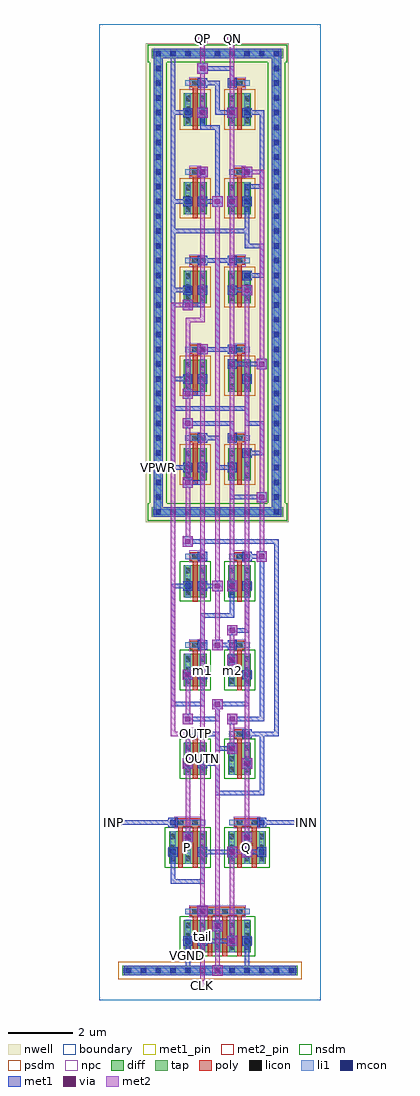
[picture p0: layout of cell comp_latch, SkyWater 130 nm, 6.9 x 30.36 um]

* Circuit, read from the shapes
.subckt comp_latch CLK INN INP OUTN OUTP P Q QN QP VGND VPWR m1 m2 tail
XM1 P INP tail VGND sky130_fd_pr__nfet_01v8 w=1 l=0.15 m=2
XM2 tail CLK VGND VGND sky130_fd_pr__nfet_01v8 w=1 l=0.15 m=4
XM3 OUTN OUTP P VGND sky130_fd_pr__nfet_01v8 w=1 l=0.15
XM4 m1 QN VGND VGND sky130_fd_pr__nfet_01v8 w=1 l=0.15
XM5 QP OUTN m1 VGND sky130_fd_pr__nfet_01v8 w=1 l=0.15
XM6 Q INN tail VGND sky130_fd_pr__nfet_01v8 w=1 l=0.15 m=2
XM7 Q OUTN OUTP VGND sky130_fd_pr__nfet_01v8 w=1 l=0.15
XM8 VGND QP m2 VGND sky130_fd_pr__nfet_01v8 w=1 l=0.15
XM9 m2 OUTP QN VGND sky130_fd_pr__nfet_01v8 w=1 l=0.15
XM10 OUTN OUTP VPWR VPWR sky130_fd_pr__pfet_01v8 w=1 l=0.15
XM11 OUTN CLK VPWR VPWR sky130_fd_pr__pfet_01v8 w=1 l=0.15
XM12 P CLK VPWR VPWR sky130_fd_pr__pfet_01v8 w=1 l=0.15
XM13 QP OUTN VPWR VPWR sky130_fd_pr__pfet_01v8 w=1 l=0.15
XM14 QP QN VPWR VPWR sky130_fd_pr__pfet_01v8 w=1 l=0.15
XM15 VPWR OUTN OUTP VPWR sky130_fd_pr__pfet_01v8 w=1 l=0.15
XM16 VPWR CLK OUTP VPWR sky130_fd_pr__pfet_01v8 w=1 l=0.15
XM17 VPWR CLK Q VPWR sky130_fd_pr__pfet_01v8 w=1 l=0.15
XM18 VPWR OUTP QN VPWR sky130_fd_pr__pfet_01v8 w=1 l=0.15
XM19 VPWR QP QN VPWR sky130_fd_pr__pfet_01v8 w=1 l=0.15
.ends

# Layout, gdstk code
import gdstk
lib = gdstk.Library(unit=1e-6, precision=1e-09)
def R(c, l, rs):  # rectangles x0, y0, x1, y1
    for r in rs: c.add(gdstk.rectangle(r[:2], r[2:], *l))
def A(c, l, x, y, w, h, nx, ny, dx, dy):  # array of equal rectangles
    R(c, l, [(x+i*dx, y+j*dy, x+i*dx+w, y+j*dy+h) for i in range(nx) for j in range(ny)])
nwell = (64, 20)
diff = (65, 20)
tap = (65, 44)
poly = (66, 20)
licon = (66, 44)
li1 = (67, 20)
mcon = (67, 44)
met1_pin = (68, 16)
met1 = (68, 20)
via = (68, 44)
met2_pin = (69, 16)
met2 = (69, 20)
nsdm = (93, 44)
psdm = (94, 20)
npc = (95, 20)
boundary = (235, 4)

comp_latch = lib.new_cell('comp_latch')
R(comp_latch, nwell, [(1.455,14.855,5.905,29.765)])
A(comp_latch, diff, 2.635, 7.005, 0.71, 1, 1, 3, 0, 2.76)
A(comp_latch, diff, 4.015, 7.005, 0.71, 1, 1, 3, 0, 2.76)
A(comp_latch, diff, 2.635, 16.16, 0.71, 1, 1, 5, 0, 2.76)
A(comp_latch, diff, 4.015, 16.16, 0.71, 1, 1, 5, 0, 2.76)
R(comp_latch, diff, [(2.635,1.485,4.725,2.485), (2.175,4.245,3.345,5.245), (4.015,4.245,5.185,5.245)])
R(comp_latch, tap, [(0.715,0.775,6.185,1.065), (1.635,15.035,5.725,15.325), (1.695,15.035,1.985,29.585), (5.375,15.035,5.665,29.585), (1.635,29.295,5.725,29.585)])
A(comp_latch, poly, 2.915, 1.355, 0.15, 1.405, 4, 1, 0.46, 0)
A(comp_latch, poly, 2.915, 4.115, 0.15, 1.405, 1, 4, 0, 2.76)
A(comp_latch, poly, 4.295, 4.115, 0.15, 1.405, 1, 4, 0, 2.76)
A(comp_latch, poly, 2.825, 8.145, 0.33, 0.27, 1, 3, 0, 2.76)
A(comp_latch, poly, 4.205, 8.145, 0.33, 0.27, 1, 3, 0, 2.76)
A(comp_latch, poly, 2.915, 16.03, 0.15, 1.45, 1, 5, 0, 2.76)
A(comp_latch, poly, 4.295, 16.03, 0.15, 1.45, 1, 5, 0, 2.76)
A(comp_latch, poly, 2.825, 17.345, 0.33, 0.27, 1, 5, 0, 2.76)
A(comp_latch, poly, 4.205, 17.345, 0.33, 0.27, 1, 5, 0, 2.76)
R(comp_latch, poly, [(2.825,2.625,4.535,2.895), (2.455,4.115,2.605,5.52), (4.755,4.115,4.905,5.52), (2.365,5.385,3.155,5.655), (4.205,5.385,4.995,5.655)])
A(comp_latch, licon, 0.835, 0.835, 0.17, 0.17, 12, 1, 0.46, 0)
A(comp_latch, licon, 2.675, 1.56, 0.17, 0.17, 5, 3, 0.46, 0.34)
A(comp_latch, licon, 2.905, 2.675, 0.17, 0.17, 4, 1, 0.46, 0)
A(comp_latch, licon, 2.215, 4.32, 0.17, 0.17, 3, 3, 0.46, 0.34)
A(comp_latch, licon, 4.055, 4.32, 0.17, 0.17, 3, 3, 0.46, 0.34)
A(comp_latch, licon, 2.905, 5.435, 0.17, 0.17, 1, 4, 0, 2.76)
A(comp_latch, licon, 4.285, 5.435, 0.17, 0.17, 1, 4, 0, 2.76)
A(comp_latch, licon, 2.675, 7.08, 0.17, 0.17, 1, 3, 0, 0.34)
A(comp_latch, licon, 3.135, 7.08, 0.17, 0.17, 1, 3, 0, 0.34)
A(comp_latch, licon, 4.055, 7.08, 0.17, 0.17, 1, 3, 0, 0.34)
A(comp_latch, licon, 4.515, 7.08, 0.17, 0.17, 1, 3, 0, 0.34)
A(comp_latch, licon, 2.675, 9.84, 0.17, 0.17, 1, 3, 0, 0.34)
A(comp_latch, licon, 3.135, 9.84, 0.17, 0.17, 1, 3, 0, 0.34)
A(comp_latch, licon, 4.055, 9.84, 0.17, 0.17, 1, 3, 0, 0.34)
A(comp_latch, licon, 4.515, 9.84, 0.17, 0.17, 1, 3, 0, 0.34)
A(comp_latch, licon, 2.675, 12.6, 0.17, 0.17, 1, 3, 0, 0.34)
A(comp_latch, licon, 3.135, 12.6, 0.17, 0.17, 1, 3, 0, 0.34)
A(comp_latch, licon, 4.055, 12.6, 0.17, 0.17, 1, 3, 0, 0.34)
A(comp_latch, licon, 4.515, 12.6, 0.17, 0.17, 1, 3, 0, 0.34)
A(comp_latch, licon, 1.755, 15.095, 0.17, 0.17, 9, 2, 0.46, 14.26)
A(comp_latch, licon, 1.755, 15.555, 0.17, 0.17, 1, 30, 0, 0.46)
A(comp_latch, licon, 5.435, 15.555, 0.17, 0.17, 1, 30, 0, 0.46)
A(comp_latch, licon, 2.675, 16.235, 0.17, 0.17, 1, 3, 0, 0.34)
A(comp_latch, licon, 3.135, 16.235, 0.17, 0.17, 1, 3, 0, 0.34)
A(comp_latch, licon, 4.055, 16.235, 0.17, 0.17, 1, 3, 0, 0.34)
A(comp_latch, licon, 4.515, 16.235, 0.17, 0.17, 1, 3, 0, 0.34)
A(comp_latch, licon, 2.905, 17.395, 0.17, 0.17, 1, 5, 0, 2.76)
A(comp_latch, licon, 4.285, 17.395, 0.17, 0.17, 1, 5, 0, 2.76)
A(comp_latch, licon, 2.675, 18.995, 0.17, 0.17, 1, 3, 0, 0.34)
A(comp_latch, licon, 3.135, 18.995, 0.17, 0.17, 1, 3, 0, 0.34)
A(comp_latch, licon, 4.055, 18.995, 0.17, 0.17, 1, 3, 0, 0.34)
A(comp_latch, licon, 4.515, 18.995, 0.17, 0.17, 1, 3, 0, 0.34)
A(comp_latch, licon, 2.675, 21.755, 0.17, 0.17, 1, 3, 0, 0.34)
A(comp_latch, licon, 3.135, 21.755, 0.17, 0.17, 1, 3, 0, 0.34)
A(comp_latch, licon, 4.055, 21.755, 0.17, 0.17, 1, 3, 0, 0.34)
A(comp_latch, licon, 4.515, 21.755, 0.17, 0.17, 1, 3, 0, 0.34)
A(comp_latch, licon, 2.675, 24.515, 0.17, 0.17, 1, 3, 0, 0.34)
A(comp_latch, licon, 3.135, 24.515, 0.17, 0.17, 1, 3, 0, 0.34)
A(comp_latch, licon, 4.055, 24.515, 0.17, 0.17, 1, 3, 0, 0.34)
A(comp_latch, licon, 4.515, 24.515, 0.17, 0.17, 1, 3, 0, 0.34)
A(comp_latch, licon, 2.675, 27.275, 0.17, 0.17, 1, 3, 0, 0.34)
A(comp_latch, licon, 3.135, 27.275, 0.17, 0.17, 1, 3, 0, 0.34)
A(comp_latch, licon, 4.055, 27.275, 0.17, 0.17, 1, 3, 0, 0.34)
A(comp_latch, licon, 4.515, 27.275, 0.17, 0.17, 1, 3, 0, 0.34)
R(comp_latch, licon, [(2.445,5.435,2.615,5.605), (4.745,5.435,4.915,5.605)])
A(comp_latch, li1, 2.675, 1.48, 0.17, 1.01, 5, 1, 0.46, 0)
A(comp_latch, li1, 2.215, 4.24, 0.17, 1.01, 3, 1, 0.46, 0)
A(comp_latch, li1, 4.055, 4.24, 0.17, 1.01, 3, 1, 0.46, 0)
A(comp_latch, li1, 2.675, 7, 0.17, 1.01, 1, 3, 0, 2.76)
A(comp_latch, li1, 3.135, 7, 0.17, 1.01, 1, 3, 0, 2.76)
A(comp_latch, li1, 4.055, 7, 0.17, 1.01, 1, 3, 0, 2.76)
A(comp_latch, li1, 4.515, 7, 0.17, 1.01, 1, 3, 0, 2.76)
A(comp_latch, li1, 2.675, 8.195, 0.63, 0.17, 1, 3, 0, 2.76)
A(comp_latch, li1, 4.055, 8.195, 0.63, 0.17, 1, 3, 0, 2.76)
A(comp_latch, li1, 2.675, 16.155, 0.17, 1.01, 1, 5, 0, 2.76)
A(comp_latch, li1, 3.135, 16.155, 0.17, 1.01, 1, 5, 0, 2.76)
A(comp_latch, li1, 4.055, 16.155, 0.17, 1.01, 1, 5, 0, 2.76)
A(comp_latch, li1, 4.515, 16.155, 0.17, 1.01, 1, 5, 0, 2.76)
A(comp_latch, li1, 2.675, 17.395, 0.63, 0.17, 1, 5, 0, 2.76)
A(comp_latch, li1, 4.055, 17.395, 0.63, 0.17, 1, 5, 0, 2.76)
R(comp_latch, li1, [(0.755,0.835,6.145,1.005), (2.675,2.675,4.685,2.845), (2.215,5.435,3.305,5.605), (4.055,5.435,5.145,5.605), (1.675,15.095,5.685,15.265), (1.755,15.095,1.925,29.525), (5.435,15.095,5.605,29.525), (1.675,29.355,5.685,29.525)])
A(comp_latch, mcon, 0.835, 0.835, 0.17, 0.17, 12, 1, 0.46, 0)
A(comp_latch, mcon, 2.215, 4.515, 0.17, 0.17, 4, 1, 0.92, 0)
A(comp_latch, mcon, 2.675, 7.275, 0.17, 0.17, 1, 3, 0, 2.76)
A(comp_latch, mcon, 1.755, 15.095, 0.17, 0.17, 9, 2, 0.46, 14.26)
A(comp_latch, mcon, 1.755, 15.555, 0.17, 0.17, 1, 22, 0, 0.46)
A(comp_latch, mcon, 5.435, 15.555, 0.17, 0.17, 1, 30, 0, 0.46)
A(comp_latch, mcon, 2.675, 16.475, 0.17, 0.17, 1, 5, 0, 2.76)
A(comp_latch, mcon, 1.755, 25.675, 0.17, 0.17, 3, 1, 1.38, 0)
A(comp_latch, mcon, 1.755, 26.135, 0.17, 0.17, 1, 7, 0, 0.46)
R(comp_latch, mcon, [(2.675,1.755,2.845,1.925), (3.135,1.755,3.305,1.925), (4.055,1.755,4.225,1.925), (4.515,1.755,4.685,1.925), (3.595,2.215,3.765,2.385), (3.135,2.675,3.305,2.845), (2.675,4.975,2.845,5.145), (4.515,4.975,4.685,5.145), (2.215,5.435,2.385,5.605), (4.975,5.435,5.145,5.605), (3.135,7.275,3.305,7.445), (4.515,7.275,4.685,7.445), (4.055,7.735,4.225,7.905), (3.135,8.195,3.305,8.365), (4.515,8.195,4.685,8.365), (3.135,10.035,3.305,10.205), (4.515,10.035,4.685,10.205), (4.055,10.495,4.225,10.665), (3.135,10.955,3.305,11.125), (4.055,10.955,4.225,11.125), (3.135,12.795,3.305,12.965), (4.055,12.795,4.225,12.965), (4.515,12.795,4.685,12.965), (3.135,13.715,3.305,13.885), (4.515,13.715,4.685,13.885), (3.135,16.475,3.305,16.645), (4.055,16.475,4.225,16.645), (4.515,16.935,4.685,17.105), (3.135,17.395,3.305,17.565), (4.055,17.395,4.225,17.565), (3.135,19.235,3.305,19.405), (4.515,19.235,4.685,19.405), (4.055,19.695,4.225,19.865), (3.135,20.155,3.305,20.325), (4.055,20.155,4.225,20.325), (3.135,21.995,3.305,22.165), (4.055,21.995,4.225,22.165), (4.515,22.455,4.685,22.625), (3.135,22.915,3.305,23.085), (4.055,22.915,4.225,23.085), (3.135,24.755,3.305,24.925), (4.055,24.755,4.225,24.925), (4.515,24.755,4.685,24.925), (3.135,27.515,3.305,27.685), (4.055,27.515,4.225,27.685), (4.515,27.515,4.685,27.685), (3.135,28.435,3.305,28.605), (4.055,28.435,4.225,28.605)])
R(comp_latch, met1_pin, [(2.69,0.85,2.83,1.91), (1.77,16.49,1.91,16.63)])
A(comp_latch, met1, 2.155, 4.455, 0.29, 0.29, 4, 1, 0.92, 0)
A(comp_latch, met1, 2.6, 7.2, 0.32, 0.32, 1, 3, 0, 1.38)
A(comp_latch, met1, 2.615, 7.215, 0.29, 0.29, 1, 3, 0, 2.76)
A(comp_latch, met1, 3.15, 8.21, 0.6, 0.14, 1, 3, 0, 4.6)
A(comp_latch, met1, 3.52, 9.04, 0.32, 0.32, 1, 3, 0, 1.84)
A(comp_latch, met1, 2.6, 14.1, 0.32, 0.32, 1, 3, 0, 1.84)
A(comp_latch, met1, 2.69, 16.03, 0.6, 0.14, 1, 3, 0, 2.76)
A(comp_latch, met1, 3.15, 16.03, 0.14, 0.6, 1, 3, 0, 2.76)
A(comp_latch, met1, 2.615, 16.415, 0.29, 0.29, 1, 5, 0, 2.76)
A(comp_latch, met1, 2.23, 16.49, 0.14, 2.9, 1, 4, 0, 2.76)
A(comp_latch, met1, 2.23, 19.25, 0.6, 0.14, 1, 4, 0, 2.76)
R(comp_latch, met1, [(3.52,0.76,3.84,1.08), (0.775,0.775,6.125,1.065), (2.69,0.85,3.75,0.99), (2.69,0.85,2.83,1.91), (3.61,0.85,4.67,0.99), (3.61,0.85,3.75,0.99), (4.53,0.85,4.67,1.91), (3.98,1.68,4.3,2), (2.615,1.695,2.905,1.985), (3.075,1.695,3.365,1.985), (3.995,1.695,4.285,1.985), (4.455,1.695,4.745,1.985), (3.15,1.77,4.21,1.91), (3.52,2.14,3.84,2.46), (3.535,2.155,3.825,2.445), (3.06,2.6,3.38,2.92), (3.075,2.615,3.365,2.905), (2.23,3.61,3.29,3.75), (2.23,3.61,2.37,4.67), (3.15,3.61,3.29,4.67), (3.98,4.44,4.3,4.76), (4.44,4.44,4.76,4.76), (3.15,4.53,4.21,4.67), (4.53,4.53,5.13,4.67), (2.6,4.9,2.92,5.22), (4.44,4.9,4.76,5.22), (2.615,4.915,2.905,5.205), (4.455,4.915,4.745,5.205), (0.3,5.36,0.62,5.68), (6.28,5.36,6.6,5.68), (2.155,5.375,2.445,5.665), (4.915,5.375,5.205,5.665), (0.39,5.45,2.37,5.59), (4.99,5.45,6.51,5.59), (3.61,6.37,5.13,6.51), (3.61,6.37,3.75,7.43), (4.99,6.37,5.13,8.35), (4.44,7.2,4.76,7.52), (3.075,7.215,3.365,7.505), (4.455,7.215,4.745,7.505), (3.15,7.29,3.75,7.43), (3.98,7.66,4.3,7.98), (3.995,7.675,4.285,7.965), (3.61,7.75,4.21,7.89), (3.61,7.75,3.75,8.35), (3.075,8.135,3.365,8.425), (4.455,8.135,4.745,8.425), (4.53,8.21,5.13,8.35), (4.99,8.21,5.59,8.35), (5.45,8.21,5.59,14.33), (3.98,8.58,4.3,8.9), (2.69,8.67,3.75,8.81), (3.61,8.67,3.75,9.27), (4.07,8.67,5.13,8.81), (4.99,8.67,5.13,13.87), (2.23,9.13,3.29,9.27), (2.23,9.13,2.37,12.95), (3.15,9.13,3.29,10.19), (3.61,9.13,4.67,9.27), (4.53,9.13,4.67,10.19), (3.075,9.975,3.365,10.265), (4.455,9.975,4.745,10.265), (3.98,10.42,4.3,10.74), (3.995,10.435,4.285,10.725), (3.075,10.895,3.365,11.185), (3.995,10.895,4.285,11.185), (3.15,10.97,3.29,12.03), (3.61,10.97,4.21,11.11), (3.98,11.34,4.3,11.66), (4.07,11.43,4.67,11.57), (4.53,11.43,4.67,12.95), (3.15,11.89,4.21,12.03), (4.07,11.89,4.21,12.95), (3.98,12.72,4.3,13.04), (3.075,12.735,3.365,13.025), (3.995,12.735,4.285,13.025), (4.455,12.735,4.745,13.025), (2.23,12.81,2.83,12.95), (4.9,13.64,5.22,13.96), (3.075,13.655,3.365,13.945), (4.455,13.655,4.745,13.945), (3.15,13.73,3.29,14.33), (4.53,13.73,5.13,13.87), (2.69,14.19,3.29,14.33), (3.15,14.19,5.59,14.33), (1.695,15.035,5.665,15.325), (1.695,15.035,1.985,29.585), (5.375,15.035,5.665,29.585), (4.9,15.48,5.22,15.8), (4.07,15.57,5.13,15.71), (4.07,15.57,4.21,16.63), (3.075,16.415,3.365,16.705), (3.995,16.415,4.285,16.705), (1.77,16.49,2.83,16.63), (1.77,16.49,1.91,16.63), (3.61,16.49,4.21,16.63), (3.61,16.49,3.75,17.55), (4.455,16.875,4.745,17.165), (4.53,16.95,5.13,17.09), (4.99,16.95,5.13,18.01), (3.075,17.335,3.365,17.625), (3.995,17.335,4.285,17.625), (4.07,17.41,4.21,18.01), (2.69,17.87,4.21,18.01), (4.53,17.87,5.13,18.01), (4.53,17.87,4.67,18.47), (2.23,18.33,4.67,18.47), (4.53,18.33,4.67,19.39), (2.6,18.7,2.92,19.02), (3.075,19.175,3.365,19.465), (4.455,19.175,4.745,19.465), (4.9,19.62,5.22,19.94), (3.995,19.635,4.285,19.925), (4.07,19.71,5.13,19.85), (3.06,20.08,3.38,20.4), (3.075,20.095,3.365,20.385), (3.995,20.095,4.285,20.385), (3.15,20.17,4.21,20.31), (3.61,20.17,3.75,23.07), (2.6,21.46,2.92,21.78), (4.44,21.92,4.76,22.24), (3.075,21.935,3.365,22.225), (3.995,21.935,4.285,22.225), (4.07,22.01,4.67,22.15), (4.455,22.395,4.745,22.685), (4.53,22.47,5.13,22.61), (4.99,22.47,5.13,23.53), (3.075,22.855,3.365,23.145), (3.995,22.855,4.285,23.145), (3.15,22.93,3.75,23.07), (3.61,22.93,4.21,23.07), (4.53,23.39,5.13,23.53), (4.53,23.39,4.67,23.99), (2.23,23.85,4.67,23.99), (4.53,23.85,4.67,24.91), (3.52,24.68,3.84,25), (3.98,24.68,4.3,25), (3.075,24.695,3.365,24.985), (3.995,24.695,4.285,24.985), (4.455,24.695,4.745,24.985), (3.15,24.77,3.75,24.91), (3.61,24.77,3.75,27.21), (4.53,24.77,4.67,25.37), (4.53,25.23,5.13,25.37), (4.99,25.23,5.13,27.67), (3.06,25.6,3.38,25.92), (4.44,25.6,4.76,25.92), (3.075,25.615,3.365,25.905), (4.455,25.615,4.745,25.905), (3.15,27.07,3.75,27.21), (3.15,27.07,3.29,27.67), (3.06,27.44,3.38,27.76), (3.98,27.44,4.3,27.76), (3.075,27.455,3.365,27.745), (3.995,27.455,4.285,27.745), (4.455,27.455,4.745,27.745), (2.23,27.53,2.37,29.51), (3.61,27.53,4.21,27.67), (3.61,27.53,3.75,28.59), (4.53,27.53,5.13,27.67), (3.075,28.375,3.365,28.665), (3.995,28.375,4.285,28.665), (3.15,28.45,3.75,28.59), (4.07,28.45,4.21,29.05), (3.06,28.82,3.38,29.14), (3.15,28.91,4.21,29.05), (1.695,29.295,5.665,29.585), (2.23,29.37,2.37,29.51)])
A(comp_latch, via, 2.685, 7.285, 0.15, 0.15, 1, 3, 0, 1.38)
A(comp_latch, via, 3.605, 9.125, 0.15, 0.15, 1, 3, 0, 1.84)
A(comp_latch, via, 2.685, 14.185, 0.15, 0.15, 1, 3, 0, 1.84)
R(comp_latch, via, [(3.605,0.845,3.755,0.995), (4.065,1.765,4.215,1.915), (3.605,2.225,3.755,2.375), (3.145,2.685,3.295,2.835), (4.065,4.525,4.215,4.675), (4.525,4.525,4.675,4.675), (2.685,4.985,2.835,5.135), (4.525,4.985,4.675,5.135), (0.385,5.445,0.535,5.595), (6.365,5.445,6.515,5.595), (4.525,7.285,4.675,7.435), (4.065,7.745,4.215,7.895), (4.065,8.665,4.215,8.815), (4.065,10.505,4.215,10.655), (4.065,11.425,4.215,11.575), (4.065,12.805,4.215,12.955), (4.985,13.725,5.135,13.875), (4.985,15.565,5.135,15.715), (2.685,18.785,2.835,18.935), (4.985,19.705,5.135,19.855), (3.145,20.165,3.295,20.315), (2.685,21.545,2.835,21.695), (4.525,22.005,4.675,22.155), (3.605,24.765,3.755,24.915), (4.065,24.765,4.215,24.915), (3.145,25.685,3.295,25.835), (4.525,25.685,4.675,25.835), (3.145,27.525,3.295,27.675), (4.065,27.525,4.215,27.675), (3.145,28.905,3.295,29.055)])
R(comp_latch, met2_pin, [(3.07,0.31,3.37,0.61), (0.31,5.37,0.61,5.67), (6.29,5.37,6.59,5.67), (3.07,29.75,3.37,30.05), (3.99,29.75,4.29,30.05)])
A(comp_latch, met2, 2.6, 7.2, 0.32, 0.32, 1, 3, 0, 1.38)
A(comp_latch, met2, 3.52, 9.04, 0.32, 0.32, 1, 3, 0, 1.84)
A(comp_latch, met2, 2.6, 14.1, 0.32, 0.32, 1, 3, 0, 1.84)
R(comp_latch, met2, [(3.07,0.31,3.37,0.61), (3.15,0.39,3.29,0.53), (3.15,0.39,3.29,2.83), (3.52,0.76,3.84,1.08), (3.61,0.85,3.75,2.37), (3.98,1.68,4.3,2), (4.07,1.77,4.21,4.67), (3.52,2.14,3.84,2.46), (3.61,2.23,3.75,9.27), (3.06,2.6,3.38,2.92), (3.15,2.69,3.29,20.31), (3.98,4.44,4.3,4.76), (4.44,4.44,4.76,4.76), (4.07,4.53,4.67,4.67), (2.6,4.9,2.92,5.22), (4.44,4.9,4.76,5.22), (2.69,4.99,2.83,7.43), (4.53,4.99,4.67,7.43), (0.3,5.36,0.62,5.68), (6.28,5.36,6.6,5.68), (0.31,5.37,0.61,5.67), (6.29,5.37,6.59,5.67), (0.39,5.45,0.53,5.59), (6.37,5.45,6.51,5.59), (4.44,7.2,4.76,7.52), (2.69,7.29,2.83,8.35), (4.53,7.29,4.67,22.15), (3.98,7.66,4.3,7.98), (4.07,7.75,4.21,8.81), (2.23,8.21,2.83,8.35), (2.23,8.21,2.37,21.69), (3.98,8.58,4.3,8.9), (2.69,8.67,2.83,10.19), (3.98,10.42,4.3,10.74), (4.07,10.51,4.21,11.57), (3.61,10.97,3.75,12.95), (3.98,11.34,4.3,11.66), (3.98,12.72,4.3,13.04), (3.61,12.81,3.75,24.91), (4.07,12.81,4.21,24.91), (4.9,13.64,5.22,13.96), (4.99,13.73,5.13,15.71), (2.69,14.19,2.83,16.17), (4.9,15.48,5.22,15.8), (4.99,15.57,5.13,19.85), (2.69,16.03,2.83,18.93), (2.6,18.7,2.92,19.02), (2.69,18.79,2.83,21.23), (4.9,19.62,5.22,19.94), (4.99,19.71,5.13,25.83), (3.06,20.08,3.38,20.4), (2.69,21.09,3.29,21.23), (3.15,21.09,3.29,25.83), (2.6,21.46,2.92,21.78), (2.23,21.55,2.83,21.69), (4.44,21.92,4.76,22.24), (3.52,24.68,3.84,25), (3.98,24.68,4.3,25), (4.07,24.77,4.21,27.67), (3.06,25.6,3.38,25.92), (4.44,25.6,4.76,25.92), (4.53,25.69,5.13,25.83), (3.06,27.44,3.38,27.76), (3.98,27.44,4.3,27.76), (3.15,27.53,3.29,29.97), (4.07,27.53,4.21,29.97), (3.06,28.82,3.38,29.14), (3.07,29.75,3.37,30.05), (3.99,29.75,4.29,30.05), (3.15,29.83,3.29,29.97), (4.07,29.83,4.21,29.97)])
A(comp_latch, nsdm, 2.51, 6.88, 0.96, 1.25, 1, 3, 0, 2.76)
A(comp_latch, nsdm, 3.89, 6.88, 0.96, 1.25, 1, 3, 0, 2.76)
R(comp_latch, nsdm, [(2.51,1.36,4.85,2.61), (2.05,4.12,3.47,5.37), (3.89,4.12,5.31,5.37), (1.51,14.91,5.85,15.45), (1.57,15.45,2.11,29.17), (5.25,15.45,5.79,29.17), (1.51,29.17,5.85,29.71)])
A(comp_latch, psdm, 2.51, 16.035, 0.96, 1.25, 1, 5, 0, 2.76)
A(comp_latch, psdm, 3.89, 16.035, 0.96, 1.25, 1, 5, 0, 2.76)
R(comp_latch, psdm, [(0.59,0.65,6.31,1.19)])
A(comp_latch, npc, 2.805, 8.095, 0.37, 0.37, 1, 3, 0, 2.76)
A(comp_latch, npc, 4.185, 8.095, 0.37, 0.37, 1, 3, 0, 2.76)
A(comp_latch, npc, 2.805, 17.295, 0.37, 0.37, 1, 5, 0, 2.76)
A(comp_latch, npc, 4.185, 17.295, 0.37, 0.37, 1, 5, 0, 2.76)
R(comp_latch, npc, [(2.805,2.575,4.555,2.945), (2.345,5.335,3.175,5.705), (4.185,5.335,5.015,5.705)])
R(comp_latch, boundary, [(0,0,6.9,30.36)])
comp_latch.add(gdstk.Label('tail', (3.22,1.985), layer=67, texttype=5))
comp_latch.add(gdstk.Label('P', (2.76,4.745), layer=67, texttype=5))
comp_latch.add(gdstk.Label('Q', (4.6,4.745), layer=67, texttype=5))
comp_latch.add(gdstk.Label('OUTP', (2.99,8.28), layer=67, texttype=5))
comp_latch.add(gdstk.Label('OUTN', (3.22,7.505), layer=67, texttype=5))
comp_latch.add(gdstk.Label('m1', (3.22,10.265), layer=67, texttype=5))
comp_latch.add(gdstk.Label('m2', (4.14,10.265), layer=67, texttype=5))
comp_latch.add(gdstk.Label('VPWR', (1.84,16.56), layer=68, texttype=5))
comp_latch.add(gdstk.Label('VGND', (2.76,1.38), layer=68, texttype=5))
comp_latch.add(gdstk.Label('CLK', (3.22,0.46), layer=69, texttype=5))
comp_latch.add(gdstk.Label('INP', (0.46,5.52), layer=69, texttype=5))
comp_latch.add(gdstk.Label('INN', (6.44,5.52), layer=69, texttype=5))
comp_latch.add(gdstk.Label('QP', (3.22,29.9), layer=69, texttype=5))
comp_latch.add(gdstk.Label('QN', (4.14,29.9), layer=69, texttype=5))
comp_latch.add(gdstk.Label('VPWR', (1.84,16.56), layer=68, texttype=16))
comp_latch.add(gdstk.Label('VGND', (2.76,1.38), layer=68, texttype=16))
comp_latch.add(gdstk.Label('CLK', (3.22,0.46), layer=69, texttype=16))
comp_latch.add(gdstk.Label('INP', (0.46,5.52), layer=69, texttype=16))
comp_latch.add(gdstk.Label('INN', (6.44,5.52), layer=69, texttype=16))
comp_latch.add(gdstk.Label('QP', (3.22,29.9), layer=69, texttype=16))
comp_latch.add(gdstk.Label('QN', (4.14,29.9), layer=69, texttype=16))

lib.write_gds('comp_latch.gds')
